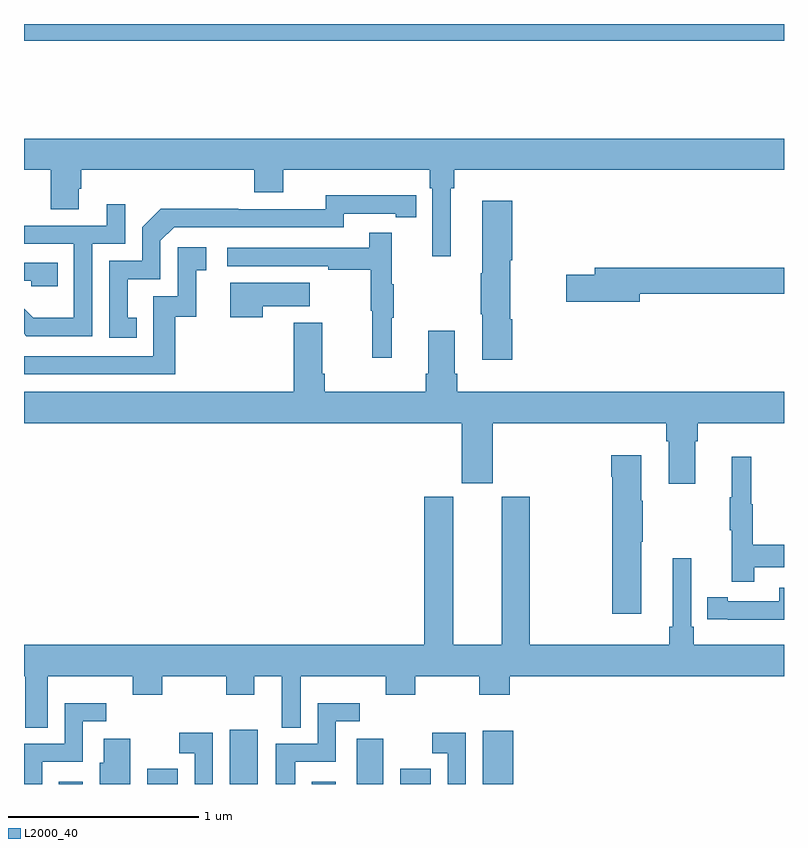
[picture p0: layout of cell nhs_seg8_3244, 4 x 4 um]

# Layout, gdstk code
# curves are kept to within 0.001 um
import gdstk
lib = gdstk.Library(unit=1e-6, precision=1e-09)
def R(c, l, rs):  # rectangles x0, y0, x1, y1
    for r in rs: c.add(gdstk.rectangle(r[:2], r[2:], *l))
def P(c, l, *ps):  # polygons
    for p in ps: c.add(gdstk.Polygon(p, *l))
L2000_40 = (2000, 40)

nhs_seg8_3244 = lib.new_cell('nhs_seg8_3244')
R(nhs_seg8_3244, L2000_40, [(311.183,1147.9,311.31,1147.912), (311.648,1147.9,311.809,1147.98), (312.083,1147.9,312.229,1148.185), (312.515,1147.9,312.642,1147.912), (312.752,1147.9,312.892,1148.137), (312.98,1147.9,313.141,1147.98), (313.415,1147.9,313.576,1148.179), (311,1151.812,315,1151.9)])
P(nhs_seg8_3244, L2000_40, [(313.246,1151.036),(313.265,1151.036),(313.265,1151.132),(315,1151.132),(315,1151.296),(311,1151.296),(311,1151.132),(311.14,1151.132),(311.14,1150.924),(311.287,1150.924),(311.287,1151.034),(311.3,1151.034),(311.3,1151.132),(312.212,1151.132),(312.212,1151.015),(312.364,1151.015),(312.364,1151.132),(313.136,1151.132),(313.136,1151.036),(313.149,1151.036),(313.149,1150.677),(313.246,1150.677)],
  [(311.594,1150.353),(311.545,1150.353),(311.545,1150.557),(311.718,1150.557),(311.718,1150.758),(311.79,1150.83),(312.684,1150.83),(312.684,1150.902),(312.956,1150.902),(312.956,1150.882),(313.064,1150.882),(313.064,1150.998),(312.588,1150.999),(312.588,1150.926),(312.128,1150.926),(312.128,1150.928),(311.72,1150.928),(311.622,1150.83),(311.622,1150.653),(311.448,1150.653),(311.448,1150.248),(311.594,1150.248)],
  [(313.571,1150.346),(313.558,1150.346),(313.558,1150.656),(313.571,1150.656),(313.571,1150.969),(313.412,1150.969),(313.412,1150.589),(313.405,1150.589),(313.405,1150.372),(313.412,1150.372),(313.412,1150.134),(313.571,1150.134)],
  [(311.358,1150.743),(311.532,1150.743),(311.532,1150.951),(311.435,1150.951),(311.435,1150.839),(311,1150.839),(311,1150.743),(311.262,1150.743),(311.262,1150.354),(311.048,1150.354),(311,1150.402),(311,1150.269),(311.012,1150.257),(311.358,1150.257)],
  [(312.935,1150.355),(312.946,1150.355),(312.946,1150.529),(312.935,1150.529),(312.935,1150.801),(312.817,1150.801),(312.817,1150.722),(312.069,1150.722),(312.069,1150.626),(312.601,1150.626),(312.601,1150.606),(312.825,1150.606),(312.825,1150.392),(312.832,1150.392),(312.832,1150.143),(312.935,1150.143)],
  [(311.795,1150.359),(311.906,1150.359),(311.906,1150.605),(311.959,1150.605),(311.959,1150.726),(311.808,1150.726),(311.808,1150.467),(311.679,1150.467),(311.679,1150.152),(311,1150.152),(311,1150.056),(311.795,1150.056)],
  [(311.177,1150.644),(311,1150.644),(311,1150.548),(311.037,1150.548),(311.037,1150.521),(311.177,1150.521)],
  [(314.242,1150.48),(315,1150.48),(315,1150.616),(314.003,1150.616),(314.003,1150.58),(313.854,1150.58),(313.854,1150.438),(314.242,1150.438)],
  [(312.257,1150.415),(312.505,1150.415),(312.505,1150.537),(312.086,1150.537),(312.086,1150.356),(312.257,1150.356)],
  [(314.533,1149.704),(314.546,1149.704),(314.546,1149.8),(315,1149.8),(315,1149.964),(313.28,1149.964),(313.28,1150.06),(313.267,1150.06),(313.267,1150.285),(313.127,1150.285),(313.127,1150.06),(313.115,1150.06),(313.115,1149.964),(312.584,1149.964),(312.584,1150.06),(312.571,1150.06),(312.571,1150.327),(312.419,1150.327),(312.419,1149.964),(311,1149.964),(311,1149.8),(313.304,1149.8),(313.304,1149.483),(313.468,1149.483),(313.468,1149.8),(314.381,1149.8),(314.381,1149.704),(314.393,1149.704),(314.393,1149.48),(314.533,1149.48)],
  [(314.248,1149.175),(314.256,1149.175),(314.256,1149.392),(314.248,1149.392),(314.248,1149.631),(314.09,1149.631),(314.09,1149.518),(314.095,1149.518),(314.095,1148.796),(314.248,1148.796)],
  [(314.843,1149.042),(315,1149.042),(315,1149.158),(314.836,1149.158),(314.836,1149.372),(314.828,1149.372),(314.828,1149.622),(314.726,1149.622),(314.726,1149.409),(314.715,1149.409),(314.715,1149.235),(314.726,1149.235),(314.726,1148.964),(314.843,1148.964)],
  [(311.125,1148.468),(311.572,1148.468),(311.572,1148.369),(311.727,1148.369),(311.727,1148.468),(312.064,1148.468),(312.064,1148.369),(312.211,1148.369),(312.211,1148.468),(312.356,1148.468),(312.356,1148.197),(312.457,1148.197),(312.457,1148.468),(312.904,1148.468),(312.904,1148.369),(313.059,1148.369),(313.059,1148.468),(313.396,1148.468),(313.396,1148.369),(313.556,1148.369),(313.556,1148.468),(315,1148.468),(315,1148.632),(314.525,1148.632),(314.525,1148.728),(314.511,1148.728),(314.511,1149.088),(314.414,1149.088),(314.414,1148.728),(314.395,1148.728),(314.395,1148.632),(313.662,1148.632),(313.662,1149.411),(313.514,1149.411),(313.514,1148.632),(313.258,1148.632),(313.258,1149.411),(313.106,1149.411),(313.106,1148.632),(311,1148.632),(311,1148.468),(311.007,1148.468),(311.007,1148.197),(311.125,1148.197)],
  [(315,1148.934),(314.976,1148.934),(314.976,1148.862),(314.704,1148.862),(314.704,1148.882),(314.596,1148.882),(314.596,1148.766),(314.704,1148.766),(314.704,1148.765),(315,1148.765)],
  [(311.095,1148.016),(311.31,1148.016),(311.31,1148.229),(311.434,1148.229),(311.434,1148.326),(311.214,1148.326),(311.214,1148.112),(311,1148.112),(311,1147.9),(311.095,1147.9)],
  [(312.427,1148.016),(312.642,1148.016),(312.642,1148.229),(312.766,1148.229),(312.766,1148.326),(312.546,1148.326),(312.546,1148.112),(312.326,1148.112),(312.326,1147.9),(312.427,1147.9)],
  [(311.994,1148.17),(311.817,1148.17),(311.817,1148.061),(311.898,1148.061),(311.898,1147.9),(311.994,1147.9)],
  [(313.326,1148.17),(313.149,1148.17),(313.149,1148.061),(313.23,1148.061),(313.23,1147.9),(313.326,1147.9)],
  [(311.56,1148.137),(311.42,1148.137),(311.42,1148.013),(311.399,1148.013),(311.399,1147.9),(311.56,1147.9)])

lib.write_gds('nhs_seg8_3244.gds')
